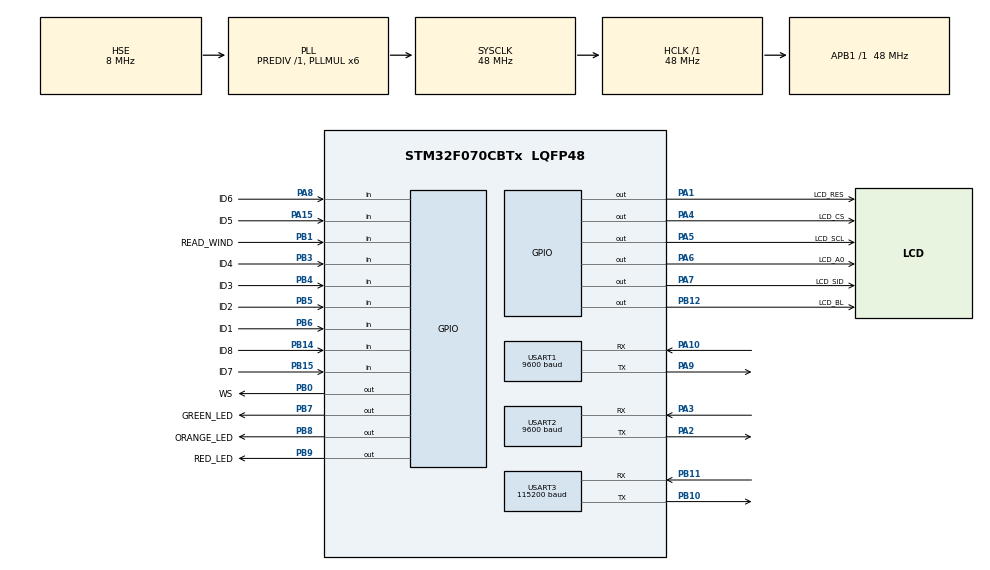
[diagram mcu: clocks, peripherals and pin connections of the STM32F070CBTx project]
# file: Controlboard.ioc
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Mcu.Family=STM32F0
Mcu.Name=STM32F070CBTx
Mcu.Package=LQFP48
NVIC.USART1_IRQn=true\:0\:0\:false\:false\:true\:true\:true\:true
NVIC.USART2_IRQn=true\:0\:0\:false\:false\:true\:true\:true\:true
NVIC.USART3_4_IRQn=true\:0\:0\:false\:false\:true\:true\:true\:true
PA1.GPIO_Label=LCD_RES
PA1.PinState=GPIO_PIN_SET
PA1.Signal=GPIO_Output
PA10.Mode=Asynchronous
PA10.Signal=USART1_RX
PA15.GPIO_Label=ID5
PA15.GPIO_PuPd=GPIO_PULLUP
PA15.Signal=GPIO_Input
PA2.Mode=Asynchronous
PA2.Signal=USART2_TX
PA3.Mode=Asynchronous
PA3.Signal=USART2_RX
PA4.GPIO_Label=LCD_CS
PA4.PinState=GPIO_PIN_SET
PA4.Signal=GPIO_Output
PA5.GPIO_Label=LCD_SCL
PA5.Signal=GPIO_Output
PA6.GPIO_Label=LCD_A0
PA6.Signal=GPIO_Output
PA7.GPIO_Label=LCD_SID
PA7.Signal=GPIO_Output
PA8.GPIO_Label=ID6
PA8.GPIO_PuPd=GPIO_PULLUP
PA8.Signal=GPIO_Input
PA9.Mode=Asynchronous
PA9.Signal=USART1_TX
PB0.GPIO_Label=WS
PB0.GPIO_PuPd=GPIO_PULLDOWN
PB0.Signal=GPIO_Output
PB1.GPIO_Label=READ_WIND
PB1.GPIO_PuPd=GPIO_PULLDOWN
PB1.Signal=GPIO_Input
PB10.Mode=Asynchronous
PB10.Signal=USART3_TX
PB11.Mode=Asynchronous
PB11.Signal=USART3_RX
PB12.GPIO_Label=LCD_BL
PB12.Signal=GPIO_Output
PB14.GPIO_Label=ID8
PB14.GPIO_PuPd=GPIO_PULLUP
PB14.Signal=GPIO_Input
PB15.GPIO_Label=ID7
PB15.GPIO_PuPd=GPIO_PULLUP
PB15.Signal=GPIO_Input
PB3.GPIO_Label=ID4
PB3.GPIO_PuPd=GPIO_PULLUP
PB3.Signal=GPIO_Input
PB4.GPIO_Label=ID3
PB4.GPIO_PuPd=GPIO_PULLUP
PB4.Signal=GPIO_Input
PB5.GPIO_Label=ID2
PB5.GPIO_PuPd=GPIO_PULLUP
PB5.Signal=GPIO_Input
PB6.GPIO_Label=ID1
PB6.GPIO_PuPd=GPIO_PULLUP
PB6.Signal=GPIO_Input
PB7.GPIO_FM7=__NULL
PB7.GPIO_Label=GREEN_LED
PB7.GPIO_ModeDefaultOutputPP=GPIO_MODE_OUTPUT_PP
PB7.GPIO_PuPd=GPIO_PULLUP
PB7.GPIO_Speed=GPIO_SPEED_FREQ_LOW
PB7.PinState=GPIO_PIN_SET
PB7.Signal=GPIO_Output
PB8.GPIO_FM7=__NULL
PB8.GPIO_Label=ORANGE_LED
PB8.GPIO_ModeDefaultOutputPP=GPIO_MODE_OUTPUT_PP
PB8.GPIO_PuPd=GPIO_PULLUP
PB8.GPIO_Speed=GPIO_SPEED_FREQ_LOW
PB8.PinState=GPIO_PIN_SET
PB8.Signal=GPIO_Output
PB9.GPIO_FM7=__NULL
PB9.GPIO_Label=RED_LED
PB9.GPIO_ModeDefaultOutputPP=GPIO_MODE_OUTPUT_PP
PB9.GPIO_PuPd=GPIO_PULLUP
PB9.GPIO_Speed=GPIO_SPEED_FREQ_LOW
PB9.PinState=GPIO_PIN_SET
PB9.Signal=GPIO_Output
PF0-OSC_IN.Mode=HSE-External-Oscillator
PF0-OSC_IN.Signal=RCC_OSC_IN
PF1-OSC_OUT.Mode=HSE-External-Oscillator
PF1-OSC_OUT.Signal=RCC_OSC_OUT
ProjectManager.HeapSize=0x200
ProjectManager.StackSize=0x400
ProjectManager.TargetToolchain=CMake
RCC.AHBFreq_Value=48000000
RCC.APB1Freq_Value=48000000
RCC.APB1TimFreq_Value=48000000
RCC.HCLKFreq_Value=48000000
RCC.PLLMUL=RCC_PLL_MUL6
RCC.PLLSourceVirtual=RCC_PLLSOURCE_HSE
RCC.SYSCLKFreq_VALUE=48000000
RCC.SYSCLKSource=RCC_SYSCLKSOURCE_PLLCLK
USART1.BaudRate=9600
USART1.VirtualMode-Asynchronous=VM_ASYNC
USART2.BaudRate=9600
USART2.VirtualMode-Asynchronous=VM_ASYNC
USART3.BaudRate=115200
USART3.VirtualMode-Asynchronous=VM_ASYNC
board=custom

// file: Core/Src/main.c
/* USER CODE BEGIN Header */
/**
  ******************************************************************************
  * @file           : main.c
  * @brief          : Main program body
  ******************************************************************************
  * @attention
  *
  * Copyright (c) 2026 STMicroelectronics.
  * All rights reserved.
  *
  * This software is licensed under terms that can be found in the LICENSE file
  * in the root directory of this software component.
  * If no LICENSE file comes with this software, it is provided AS-IS.
  *
  ******************************************************************************
  */
/* USER CODE END Header */
#include "main.h"
#include "usart.h"
#include "gpio.h"

/* USER CODE BEGIN Includes */
#include "uart1_modbus.h"
#include "uart2_modbus_slave.h"
#include "modbus_tasks.h"
#include "modbus_slave_tasks.h"
#include "modbus_polling.h"
#include "dwin.h"
#include "lcd_tasks.h"
#include "FreeRTOS.h"
#include "task.h"
/* USER CODE END Includes */

void SystemClock_Config(void);

int main(void)
{

  /* MCU Configuration--------------------------------------------------------*/

  /* Reset of all peripherals, Initializes the Flash interface and the Systick. */
  HAL_Init();

  /* Configure the system clock */
  SystemClock_Config();

  /* Initialize all configured peripherals */
  MX_GPIO_Init();
  MX_USART1_UART_Init();
  MX_USART2_UART_Init();
  MX_USART3_UART_Init();
  /* USER CODE BEGIN 2 */

  /* ---- 初始化 Modbus 队列和信号量 ---- */
  ModbusMaster_InitQueues();

  /* ---- 创建 Modbus 发送任务 ---- */
  xTaskCreate(
      TaskModbusSend,           /* 任务函数 */
      "ModbusSend",             /* 名称 */
      128,                      /* 栈大小（字，不是字节） */
      NULL,                     /* 参数 */
      2,                        /* 优先级（0 最低，configMAX_PRIORITIES-1 最高） */
      NULL                      /* 任务句柄 */
  );

  /* ---- 创建 Modbus 接收任务 ---- */
  xTaskCreate(
      TaskModbusReceive,
      "ModbusRecv",
      128,
      NULL,
      2,
      NULL
  );

  /* ---- 创建 Modbus 轮询任务 ---- */
  xTaskCreate(
      TaskModbusPoll,
      "ModbusPoll",
      128,
      NULL,
      2,
      NULL
  );

  /* ---- 创建迪文屏图标更新任务（低优先级） ---- */
  xTaskCreate(
      TaskDwinIcons,
      "DwinIcons",
      128,
      NULL,
      1,
      NULL
  );

  /* ---- 创建 LCD 显示任务（低优先级） ---- */
  xTaskCreate(
      TaskLcdDisplay,
      "LcdDisp",
      256,
      NULL,
      1,
      NULL
  );
  ModbusSlave_InitQueues();

  /* ---- 创建 UART2 从站接收任务 ---- */
  xTaskCreate(TaskSlaveRecv, "SlaveRecv", 256, NULL, 2, NULL);

  /* ---- 创建 UART2 从站发送任务 ---- */
  xTaskCreate(TaskSlaveSend, "SlaveSend", 128, NULL, 2, NULL);

  /* ---- 开启 USART2 接收中断 ---- */
  ModbusSlave_StartRx();

  /* ---- 开启 USART1 接收中断（RXNE + IDLE） ---- */
  /* 注意：必须在任务创建之后、调度器启动之前调用 */
  ModbusMaster_StartRx();

  /* ---- 启动 FreeRTOS 调度器 ---- */
  /* 调度器启动后，main 函数不再返回，由任务接管 */
  vTaskStartScheduler();

  /* USER CODE END 2 */

  /* Infinite loop */
  while (1)
  {

  }
}

void SystemClock_Config(void)
{
  RCC_OscInitTypeDef RCC_OscInitStruct = {0};
  RCC_ClkInitTypeDef RCC_ClkInitStruct = {0};
  RCC_PeriphCLKInitTypeDef PeriphClkInit = {0};

  /** Initializes the RCC Oscillators according to the specified parameters
  * in the RCC_OscInitTypeDef structure.
  */
  RCC_OscInitStruct.OscillatorType = RCC_OSCILLATORTYPE_HSE;
  RCC_OscInitStruct.HSEState = RCC_HSE_ON;
  RCC_OscInitStruct.PLL.PLLState = RCC_PLL_ON;
  RCC_OscInitStruct.PLL.PLLSource = RCC_PLLSOURCE_HSE;
  RCC_OscInitStruct.PLL.PLLMUL = RCC_PLL_MUL6;
  RCC_OscInitStruct.PLL.PREDIV = RCC_PREDIV_DIV1;
  if (HAL_RCC_OscConfig(&RCC_OscInitStruct) != HAL_OK)
  {
    Error_Handler();
  }

  /** Initializes the CPU, AHB and APB buses clocks
  */
  RCC_ClkInitStruct.ClockType = RCC_CLOCKTYPE_HCLK|RCC_CLOCKTYPE_SYSCLK
                              |RCC_CLOCKTYPE_PCLK1;
  RCC_ClkInitStruct.SYSCLKSource = RCC_SYSCLKSOURCE_PLLCLK;
  RCC_ClkInitStruct.AHBCLKDivider = RCC_SYSCLK_DIV1;
  RCC_ClkInitStruct.APB1CLKDivider = RCC_HCLK_DIV1;

  if (HAL_RCC_ClockConfig(&RCC_ClkInitStruct, FLASH_LATENCY_1) != HAL_OK)
  {
    Error_Handler();
  }
  PeriphClkInit.PeriphClockSelection = RCC_PERIPHCLK_USART1;
  PeriphClkInit.Usart1ClockSelection = RCC_USART1CLKSOURCE_PCLK1;
  if (HAL_RCCEx_PeriphCLKConfig(&PeriphClkInit) != HAL_OK)
  {
    Error_Handler();
  }
}

void Error_Handler(void)
{
  __disable_irq();
  while (1)
  {
  }
}
